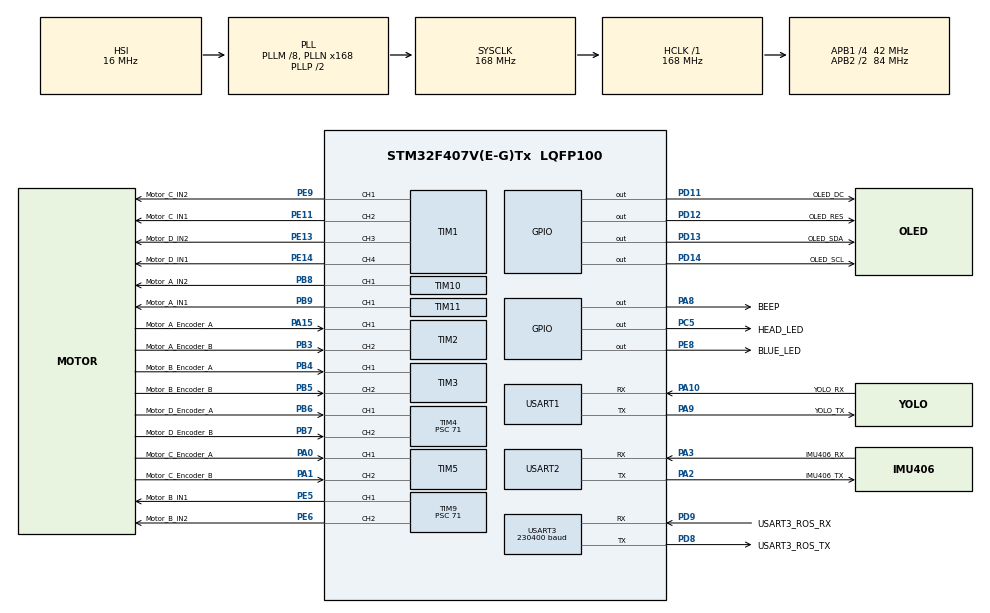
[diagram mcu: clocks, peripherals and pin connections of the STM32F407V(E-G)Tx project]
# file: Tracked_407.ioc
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Mcu.Family=STM32F4
Mcu.Name=STM32F407V(E-G)Tx
Mcu.Package=LQFP100
NVIC.PriorityGroup=NVIC_PRIORITYGROUP_4
NVIC.USART1_IRQn=true\:0\:0\:false\:false\:true\:true\:true\:true
NVIC.USART2_IRQn=true\:0\:0\:false\:false\:true\:true\:true\:true
NVIC.USART3_IRQn=true\:0\:0\:false\:false\:true\:true\:true\:true
PA0-WKUP.GPIO_Label=Motor_C_Encoder_A
PA0-WKUP.Signal=S_TIM5_CH1
PA1.GPIO_Label=Motor_C_Encoder_B
PA1.Signal=S_TIM5_CH2
PA10.GPIO_Label=YOLO_RX
PA10.Mode=Asynchronous
PA10.Signal=USART1_RX
PA13.Mode=Serial_Wire
PA13.Signal=SYS_JTMS-SWDIO
PA14.Mode=Serial_Wire
PA14.Signal=SYS_JTCK-SWCLK
PA15.GPIO_Label=Motor_A_Encoder_A
PA15.Signal=S_TIM2_CH1_ETR
PA2.GPIO_Label=IMU406_TX
PA2.Mode=Asynchronous
PA2.Signal=USART2_TX
PA3.GPIO_Label=IMU406_RX
PA3.Mode=Asynchronous
PA3.Signal=USART2_RX
PA8.GPIO_Label=BEEP
PA8.Signal=GPIO_Output
PA9.GPIO_Label=YOLO_TX
PA9.Mode=Asynchronous
PA9.Signal=USART1_TX
PB10.Signal=I2C2_SCL
PB11.Signal=I2C2_SDA
PB3.GPIO_Label=Motor_A_Encoder_B
PB3.Signal=S_TIM2_CH2
PB4.GPIO_Label=Motor_B_Encoder_A
PB4.Signal=S_TIM3_CH1
PB5.GPIO_Label=Motor_B_Encoder_B
PB5.Signal=S_TIM3_CH2
PB6.GPIO_Label=Motor_D_Encoder_A
PB6.Signal=S_TIM4_CH1
PB7.GPIO_Label=Motor_D_Encoder_B
PB7.Signal=S_TIM4_CH2
PB8.GPIO_Label=Motor_A_IN2
PB8.Signal=S_TIM10_CH1
PB9.GPIO_Label=Motor_A_IN1
PB9.Signal=S_TIM11_CH1
PC5.GPIO_Label=HEAD_LED
PC5.Signal=GPIO_Output
PD11.GPIO_Label=OLED_DC
PD11.Signal=GPIO_Output
PD12.GPIO_Label=OLED_RES
PD12.Signal=GPIO_Output
PD13.GPIO_Label=OLED_SDA
PD13.Signal=GPIO_Output
PD14.GPIO_Label=OLED_SCL
PD14.Signal=GPIO_Output
PD8.GPIO_Label=USART3_ROS_TX
PD8.Mode=Asynchronous
PD8.Signal=USART3_TX
PD9.GPIO_Label=USART3_ROS_RX
PD9.Mode=Asynchronous
PD9.Signal=USART3_RX
PE11.GPIO_Label=Motor_C_IN1
PE11.Signal=S_TIM1_CH2
PE13.GPIO_Label=Motor_D_IN2
PE13.Signal=S_TIM1_CH3
PE14.GPIO_Label=Motor_D_IN1
PE14.Signal=S_TIM1_CH4
PE5.GPIO_Label=Motor_B_IN1
PE5.Signal=S_TIM9_CH1
PE6.GPIO_Label=Motor_B_IN2
PE6.Signal=S_TIM9_CH2
PE8.GPIO_Label=BLUE_LED
PE8.Signal=GPIO_Output
PE9.GPIO_Label=Motor_C_IN2
PE9.Signal=S_TIM1_CH1
PH0-OSC_IN.Mode=HSE-External-Oscillator
PH0-OSC_IN.Signal=RCC_OSC_IN
PH1-OSC_OUT.Mode=HSE-External-Oscillator
PH1-OSC_OUT.Signal=RCC_OSC_OUT
ProjectManager.HeapSize=0x200
ProjectManager.StackSize=0x400
ProjectManager.TargetToolchain=CMake
RCC.48MHZClocksFreq_Value=84000000
RCC.AHBFreq_Value=168000000
RCC.APB1CLKDivider=RCC_HCLK_DIV4
RCC.APB1Freq_Value=42000000
RCC.APB1TimFreq_Value=84000000
RCC.APB2CLKDivider=RCC_HCLK_DIV2
RCC.APB2Freq_Value=84000000
RCC.APB2TimFreq_Value=168000000
RCC.CortexFreq_Value=168000000
RCC.HCLKFreq_Value=168000000
RCC.HSE_VALUE=25000000
RCC.HSI_VALUE=16000000
RCC.LSE_VALUE=32768
RCC.PLLM=8
RCC.PLLN=168
RCC.SYSCLKFreq_VALUE=168000000
RCC.SYSCLKSource=RCC_SYSCLKSOURCE_PLLCLK
RCC.VCOOutputFreq_Value=336000000
SH.S_TIM10_CH1.0=TIM10_CH1,PWM Generation1 CH1
SH.S_TIM11_CH1.0=TIM11_CH1,PWM Generation1 CH1
SH.S_TIM1_CH1.0=TIM1_CH1,PWM Generation1 CH1
SH.S_TIM1_CH2.0=TIM1_CH2,PWM Generation2 CH2
SH.S_TIM1_CH3.0=TIM1_CH3,PWM Generation3 CH3
SH.S_TIM1_CH4.0=TIM1_CH4,PWM Generation4 CH4
SH.S_TIM2_CH1_ETR.0=TIM2_CH1,Encoder_Interface
SH.S_TIM2_CH2.0=TIM2_CH2,Encoder_Interface
SH.S_TIM3_CH1.0=TIM3_CH1,Encoder_Interface
SH.S_TIM3_CH2.0=TIM3_CH2,Encoder_Interface
SH.S_TIM4_CH1.0=TIM4_CH1,Encoder_Interface
SH.S_TIM4_CH2.0=TIM4_CH2,Encoder_Interface
SH.S_TIM5_CH1.0=TIM5_CH1,Encoder_Interface
SH.S_TIM5_CH2.0=TIM5_CH2,Encoder_Interface
SH.S_TIM9_CH1.0=TIM9_CH1,PWM Generation1 CH1
SH.S_TIM9_CH2.0=TIM9_CH2,PWM Generation2 CH2
TIM1.Channel-PWM\ Generation1\ CH1=TIM_CHANNEL_1
TIM1.Channel-PWM\ Generation2\ CH2=TIM_CHANNEL_2
TIM1.Channel-PWM\ Generation3\ CH3=TIM_CHANNEL_3
TIM1.Channel-PWM\ Generation4\ CH4=TIM_CHANNEL_4
TIM10.Channel=TIM_CHANNEL_1
TIM10.Period=999
TIM10.Prescaler=71
TIM11.Channel=TIM_CHANNEL_1
TIM11.Period=999
TIM11.Prescaler=71
TIM2.EncoderMode=TIM_ENCODERMODE_TI12
TIM3.EncoderMode=TIM_ENCODERMODE_TI12
TIM4.EncoderMode=TIM_ENCODERMODE_TI12
TIM4.Period=999
TIM4.Prescaler=71
TIM5.EncoderMode=TIM_ENCODERMODE_TI12
TIM9.Channel-PWM\ Generation1\ CH1=TIM_CHANNEL_1
TIM9.Channel-PWM\ Generation2\ CH2=TIM_CHANNEL_2
TIM9.Period=999
TIM9.Prescaler=71
USART1.VirtualMode=VM_ASYNC
USART2.VirtualMode=VM_ASYNC
USART3.BaudRate=230400
USART3.VirtualMode=VM_ASYNC
VP_TIM10_VS_ClockSourceINT.Mode=Enable_Timer
VP_TIM11_VS_ClockSourceINT.Mode=Enable_Timer
board=custom

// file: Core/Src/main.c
/* USER CODE BEGIN Header */
/**
  ******************************************************************************
  * @file           : main.c
  * @brief          : Main program body
  ******************************************************************************
  * @attention
  *
  * Copyright (c) 2026 STMicroelectronics.
  * All rights reserved.
  *
  * This software is licensed under terms that can be found in the LICENSE file
  * in the root directory of this software component.
  * If no LICENSE file comes with this software, it is provided AS-IS.
  *
  ******************************************************************************
  */
/* USER CODE END Header */
#include "main.h"
#include "tim.h"
#include "usart.h"
#include "gpio.h"

/* USER CODE BEGIN Includes */
#include "Tracked.h"
#include <stdio.h>
#include <string.h>
#include "oled.h"
#include "IMU406.h"
#include "alarm.h"
/* USER CODE END Includes */

/* USER CODE BEGIN PV */
char oled_buf[32];
/* USER CODE END PV */

void SystemClock_Config(void);
/* USER CODE BEGIN PFP */
void OLED_Show_Current_Speed(void);
void OLED_Show_Target_Speed(void);
void OLED_Show_Yaw(void);
/* USER CODE END PFP */

int main(void)
{

  /* MCU Configuration--------------------------------------------------------*/

  /* Reset of all peripherals, Initializes the Flash interface and the Systick. */
  HAL_Init();

  /* Configure the system clock */
  SystemClock_Config();

  /* Initialize all configured peripherals */
  MX_GPIO_Init();
  MX_TIM2_Init();
  MX_TIM3_Init();
  MX_TIM4_Init();
  MX_TIM5_Init();
  MX_USART3_UART_Init();
  MX_TIM1_Init();
  MX_TIM9_Init();
  MX_TIM10_Init();
  MX_TIM11_Init();
  MX_USART2_UART_Init();
  MX_USART1_UART_Init();
  /* USER CODE BEGIN 2 */
  /* 初始化 OLED */
  OLED_Init();
  OLED_Clear();

  /* 初始化履带底盘 */
  Tracked_Init();

  /* 启动 YOLO 串口接收 */
  YOLO_UART_Start();

  /* 系统完成初始化提示 */
  System_Init_Alarm();
  /* USER CODE END 2 */

  /* Infinite loop */
  /* USER CODE BEGIN WHILE */
  while (1)
  {

    // 找到物体后则进行报警
    if (g_yolo_object_found_flag) {
      g_yolo_object_found_flag = 0;
      Object_Found_Alarm();
    }

    // OLED显示内容
    OLED_Clear();
    OLED_Show_Current_Speed();
    OLED_Show_Target_Speed();
    OLED_Show_Yaw();
    HAL_Delay(100);

    /* USER CODE END WHILE */

  }
}

void SystemClock_Config(void)
{
  RCC_OscInitTypeDef RCC_OscInitStruct = {0};
  RCC_ClkInitTypeDef RCC_ClkInitStruct = {0};

  /** Configure the main internal regulator output voltage
  */
  __HAL_RCC_PWR_CLK_ENABLE();
  __HAL_PWR_VOLTAGESCALING_CONFIG(PWR_REGULATOR_VOLTAGE_SCALE1);

  /** Initializes the RCC Oscillators according to the specified parameters
  * in the RCC_OscInitTypeDef structure.
  */
  RCC_OscInitStruct.OscillatorType = RCC_OSCILLATORTYPE_HSI;
  RCC_OscInitStruct.HSIState = RCC_HSI_ON;
  RCC_OscInitStruct.HSICalibrationValue = RCC_HSICALIBRATION_DEFAULT;
  RCC_OscInitStruct.PLL.PLLState = RCC_PLL_ON;
  RCC_OscInitStruct.PLL.PLLSource = RCC_PLLSOURCE_HSI;
  RCC_OscInitStruct.PLL.PLLM = 8;
  RCC_OscInitStruct.PLL.PLLN = 168;
  RCC_OscInitStruct.PLL.PLLP = RCC_PLLP_DIV2;
  RCC_OscInitStruct.PLL.PLLQ = 4;
  if (HAL_RCC_OscConfig(&RCC_OscInitStruct) != HAL_OK)
  {
    Error_Handler();
  }

  /** Initializes the CPU, AHB and APB buses clocks
  */
  RCC_ClkInitStruct.ClockType = RCC_CLOCKTYPE_HCLK|RCC_CLOCKTYPE_SYSCLK
                              |RCC_CLOCKTYPE_PCLK1|RCC_CLOCKTYPE_PCLK2;
  RCC_ClkInitStruct.SYSCLKSource = RCC_SYSCLKSOURCE_PLLCLK;
  RCC_ClkInitStruct.AHBCLKDivider = RCC_SYSCLK_DIV1;
  RCC_ClkInitStruct.APB1CLKDivider = RCC_HCLK_DIV4;
  RCC_ClkInitStruct.APB2CLKDivider = RCC_HCLK_DIV2;

  if (HAL_RCC_ClockConfig(&RCC_ClkInitStruct, FLASH_LATENCY_5) != HAL_OK)
  {
    Error_Handler();
  }
}

/* USER CODE BEGIN 4 */
void OLED_Show_Current_Speed(void)
{
  /* L:xxxx R:xxxx 共 16 字符，%-4d 左对齐补空格 */
  sprintf(oled_buf, "L:%-4d R:%-4d",
          (int)g_tracked.delta_left_cnt,
          (int)g_tracked.delta_right_cnt);
  OLED_ShowString(0, 0, (unsigned char *)oled_buf);
}

void OLED_Show_Target_Speed(void)
{
  int v_i = (int)(g_tracked.target_v);
  int v_f = (int)((g_tracked.target_v - v_i) * 100);
  if (v_f < 0) v_f = -v_f;

  int w_i = (int)(g_tracked.target_w);
  int w_f = (int)((g_tracked.target_w - w_i) * 100);
  if (w_f < 0) w_f = -w_f;

  /* Vt:x.xx Wt:x.xx 共 16 字符，长度固定 */
  sprintf(oled_buf, "Vt:%d.%02d Wt:%d.%02d",
          v_i, v_f, w_i, w_f);
  OLED_ShowString(0, 1, (unsigned char *)oled_buf);
}

void OLED_Show_Yaw(void)
{
  int32_t yaw = IMU406_Get_Yaw();
  int yaw_i = (int)(yaw / 100);
  int yaw_f = (int)(yaw % 100);
  if (yaw_f < 0) yaw_f = -yaw_f;

  /* yaw:xxx.x 后面补 6 个空格，保证总长 16 字符 */
  sprintf(oled_buf, "yaw:%d.%d      ", yaw_i, yaw_f / 10);
  OLED_ShowString(0, 2, (unsigned char *)oled_buf);
}
/* USER CODE END 4 */

void Error_Handler(void)
{
  __disable_irq();
  while (1)
  {
  }
}
